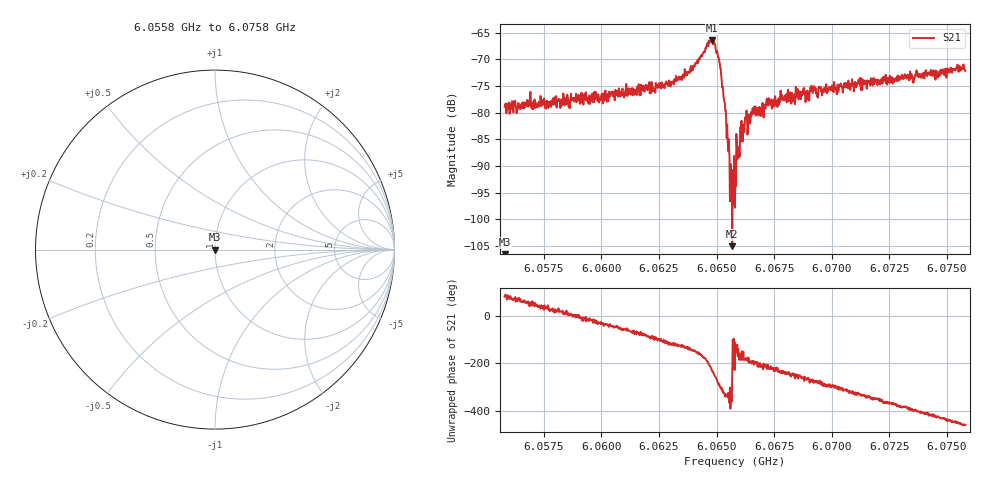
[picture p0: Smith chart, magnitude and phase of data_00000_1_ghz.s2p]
! Created with skrf (http://scikit-rf.org).
# GHz S RI R 50.0
!freq ReS11 ImS11 ReS21 ImS21 ReS12 ImS12 ReS22 ImS22
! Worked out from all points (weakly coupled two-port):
!   1001 points, 6.0558 GHz to 6.0758 GHz, reference 50 ohm
!   highest |S21| = -66.49 dB at 6.0648 GHz (marker M1); lowest = -105.0 dB at 6.06568 GHz (marker M2)
!   lowest |S11| = - dB at 6.0558 GHz (marker M3), VSWR 1.00, Z = 50 + j0 ohm
!   |S11| at or under -10 dB: start of sweep to end of sweep
!   S12 and S22 are empty: the file has one direction only
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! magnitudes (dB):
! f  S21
! 6.0558 GHz  -78.9
! 6.05914 GHz  -76.3
! 6.0602 GHz  -76.9
! 6.06248 GHz  -75.3
! 6.06306 GHz  -74.3
! 6.06376 GHz  -72.4
! 6.0648 GHz  -66.5
! 6.06494 GHz  -67.2
! 6.06508 GHz  -69.6
! 6.0654 GHz  -79.6
! 6.06548 GHz  -85.0
! 6.06568 GHz  -105.0
! 6.0658 GHz  -97.8
! 6.06686 GHz  -79.3
! 6.06726 GHz  -77.3
! 6.0681 GHz  -75.7
! 6.06832 GHz  -77.7
! 6.06874 GHz  -76.6
! 6.06892 GHz  -77.1
! 6.06914 GHz  -75.4
! 6.07248 GHz  -73.7
! 6.0758 GHz  -72.2
